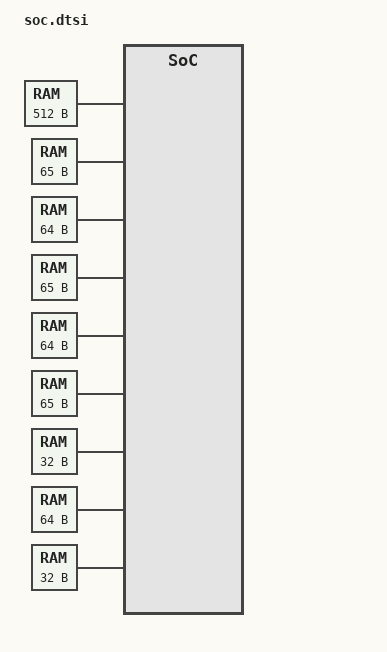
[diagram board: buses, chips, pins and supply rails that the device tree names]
/* Copyright 2026 The ChromiumOS Authors.
 * Use of this source code is governed by a BSD-style license that can be
 * found in the LICENSE file.
 */

#include <cros/elan/em32f967.dtsi>

/*
 * Use 271kB of RAM. Some of it is reserved for hw accelarator which is not used.
 * Make also 512b space for SDCP.
 */
&sram0 {
	/* Round down to kB, because the SRAM_SIZE config uses kB as SRAM
	 * size
	 */
	reg = <0x20000000 DT_SIZE_K(271)>;
};

/ {
	sdcp: memory@20043e00 {
		compatible = "mmio-sram";
		reg = <0x20043e00 512>;
	};

	sdcp_pk_m: memory@20043E14 {		
		compatible = "mmio-sram";
		reg = <0x20043E14 65>;
	};
	sdcp_s_goog: memory@20043E55 {		
		compatible = "mmio-sram";
		reg = <0x20043E55 64>;
	};
	sdcp_pk_d: memory@20043F35 {		
		compatible = "mmio-sram";
		reg = <0x20043F35 65>;
	};
	sdcp_s_m: memory@20043E95 {		
		compatible = "mmio-sram";
		reg = <0x20043E95 64>;
	};
	sdcp_pk_f: memory@20043F76 {		
		compatible = "mmio-sram";
		reg = <0x20043F76 65>;
	};
	sdcp_h_f: memory@20043ED5 {		
		compatible = "mmio-sram";
		reg = <0x20043ED5 32>;
	};
	sdcp_s_d: memory@20043EF5 {		
		compatible = "mmio-sram";
		reg = <0x20043EF5 64>;
	};
	sdcp_sk_f: memory@20043FB7 {		
		compatible = "mmio-sram";
		reg = <0x20043FB7 32>;
	};
};
